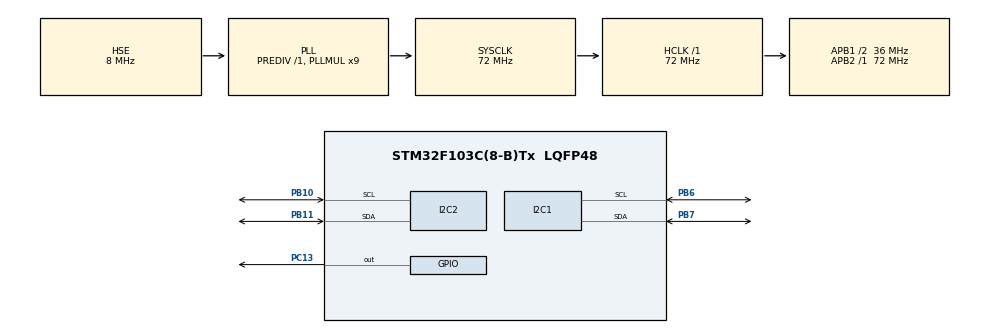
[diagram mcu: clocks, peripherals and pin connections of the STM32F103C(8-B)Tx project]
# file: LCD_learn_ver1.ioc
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Mcu.Family=STM32F1
Mcu.Name=STM32F103C(8-B)Tx
Mcu.Package=LQFP48
NVIC.PriorityGroup=NVIC_PRIORITYGROUP_4
PA13.Mode=Serial_Wire
PA13.Signal=SYS_JTMS-SWDIO
PA14.Mode=Serial_Wire
PA14.Signal=SYS_JTCK-SWCLK
PB10.Mode=I2C
PB10.Signal=I2C2_SCL
PB11.Mode=I2C
PB11.Signal=I2C2_SDA
PB6.Mode=I2C
PB6.Signal=I2C1_SCL
PB7.Mode=I2C
PB7.Signal=I2C1_SDA
PC13-TAMPER-RTC.Signal=GPIO_Output
PD0-OSC_IN.Mode=HSE-External-Oscillator
PD0-OSC_IN.Signal=RCC_OSC_IN
PD1-OSC_OUT.Mode=HSE-External-Oscillator
PD1-OSC_OUT.Signal=RCC_OSC_OUT
ProjectManager.HeapSize=0x200
ProjectManager.StackSize=0x400
ProjectManager.TargetToolchain=STM32CubeIDE
RCC.AHBFreq_Value=72000000
RCC.APB1CLKDivider=RCC_HCLK_DIV2
RCC.APB1Freq_Value=36000000
RCC.APB1TimFreq_Value=72000000
RCC.APB2Freq_Value=72000000
RCC.APB2TimFreq_Value=72000000
RCC.HCLKFreq_Value=72000000
RCC.PLLMUL=RCC_PLL_MUL9
RCC.PLLSourceVirtual=RCC_PLLSOURCE_HSE
RCC.SYSCLKFreq_VALUE=72000000
RCC.SYSCLKSource=RCC_SYSCLKSOURCE_PLLCLK
RCC.USBFreq_Value=72000000
TIM2.Prescaler=71
VP_TIM2_VS_ClockSourceINT.Mode=Internal
board=custom

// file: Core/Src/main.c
/* USER CODE BEGIN Header */
/**
  ******************************************************************************
  * @file           : main.c
  * @brief          : Main program body
  ******************************************************************************
  * @attention
  *
  * Copyright (c) 2023 STMicroelectronics.
  * All rights reserved.
  *
  * This software is licensed under terms that can be found in the LICENSE file
  * in the root directory of this software component.
  * If no LICENSE file comes with this software, it is provided AS-IS.
  *
  ******************************************************************************
  */
/* USER CODE END Header */
#include "main.h"

/* USER CODE BEGIN Includes */
#include "lcd_i2c.h"

/* USER CODE END Includes */

I2C_HandleTypeDef hi2c1;
I2C_HandleTypeDef hi2c2;

TIM_HandleTypeDef htim2;

/* USER CODE BEGIN PV */
LCD_I2C_HandleTypeDef lcd_1;
/* USER CODE END PV */

void SystemClock_Config(void);
static void MX_GPIO_Init(void);
static void MX_I2C1_Init(void);
static void MX_I2C2_Init(void);
static void MX_TIM2_Init(void);

/* USER CODE BEGIN 0 */
char MODE1[] = "MODE1: TEMP & HUMID";
char MODE2[] = "MODE2: DISTANCE";
char MODE3[] = "MODE3: DIGITAL CLOCK";
char MODE4[] = "MODE4: RESET TIME";
/* USER CODE END 0 */

int main(void)
{

  /* MCU Configuration--------------------------------------------------------*/

  /* Reset of all peripherals, Initializes the Flash interface and the Systick. */
  HAL_Init();

  /* Configure the system clock */
  SystemClock_Config();

  /* Initialize all configured peripherals */
  MX_GPIO_Init();
  MX_I2C1_Init();
  MX_I2C2_Init();
  MX_TIM2_Init();
  /* USER CODE BEGIN 2 */
  lcd_i2c_init(&lcd_1, &hi2c1,20,4,0x27<<1);

  /* USER CODE END 2 */

  /* Infinite loop */
  while (1)
  {

    /* USER CODE BEGIN 3 */
	  lcd_set_cursor(&lcd_1, 0, 0);
	  lcd_send_string(&lcd_1, MODE1);
	  lcd_set_cursor(&lcd_1, 0, 1);
	  lcd_send_string(&lcd_1, MODE2);
	  lcd_set_cursor(&lcd_1, 0, 2);
	  lcd_send_string(&lcd_1, MODE3);
	  lcd_set_cursor(&lcd_1, 0, 3);
	  lcd_send_string(&lcd_1, MODE4);
	  HAL_Delay(1000);
	  lcd_clear(&lcd_1);
	  lcd_set_cursor(&lcd_1, 0, 0);
	  lcd_send_string(&lcd_1, MODE1);
	  lcd_set_cursor(&lcd_1, 0, 1);
	  lcd_send_string(&lcd_1, MODE2);
	  lcd_set_cursor(&lcd_1, 0, 2);
	  lcd_send_string(&lcd_1, MODE3);
//	  lcd_set_cursor(&lcd_1, 0, 3);
//	  lcd_send_string(&lcd_1, MODE4);
	  HAL_Delay(1000);
	  lcd_set_cursor(&lcd_1, 0, 3);
	  lcd_send_string(&lcd_1, MODE4);
//	  for (int i = 0; i < strlen(str); i++)
//	  {
//		  lcd_clear(&p_lcd);
//		  lcd_set_cursor(&p_lcd, 0, 0);
//		  lcd_send_string(&p_lcd, &str[strlen(str) - i]);
//		  HAL_Delay(500);
//	  }
//	  for (int i = 0; i < 16 - strlen(str1); i++)
//	  {
//		  lcd_clear(&p_lcd);
//		  lcd_set_cursor(&p_lcd, i, 0);
//		  lcd_send_string(&p_lcd, "xin chao pham tuan");
//		  HAL_Delay(500);
//	  }
//	  for (int i = 16 - strlen(str1); i < 16; i++ )
//	  {
//		  lcd_clear(&p_lcd);
//		  lcd_set_cursor(&p_lcd, i, 0);
//		  lcd_send_string(&p_lcd, "phamtuan");
//		  lcd_set_cursor(&p_lcd, 0, 0);
//		  lcd_send_string(&p_lcd, &str1[16 - i]);
//		  HAL_Delay(500);
//	  }
//	  lcd_clear(&p_lcd);
//	  lcd_set_cursor(&p_lcd, 0, 0);
//	  lcd_send_string(&p_lcd, "WELCOME TO P.1008");
//	  lcd_set_cursor(&p_lcd, 0, 1);
//	  lcd_send_string(&p_lcd, "The boss of this room:");
//	  lcd_set_cursor(&p_lcd, 0, 2);
//	  lcd_send_string(&p_lcd, "Pham Ho Anh Tuan");
//	  lcd_set_cursor(&p_lcd, 0, 3);
//	  lcd_send_string(&p_lcd, "HAVE A NICE DAY!");
//	  HAL_Delay(500);

  }
  /* USER CODE END 3 */
}

void SystemClock_Config(void)
{
  RCC_OscInitTypeDef RCC_OscInitStruct = {0};
  RCC_ClkInitTypeDef RCC_ClkInitStruct = {0};

  /** Initializes the RCC Oscillators according to the specified parameters
  * in the RCC_OscInitTypeDef structure.
  */
  RCC_OscInitStruct.OscillatorType = RCC_OSCILLATORTYPE_HSE;
  RCC_OscInitStruct.HSEState = RCC_HSE_ON;
  RCC_OscInitStruct.HSEPredivValue = RCC_HSE_PREDIV_DIV1;
  RCC_OscInitStruct.HSIState = RCC_HSI_ON;
  RCC_OscInitStruct.PLL.PLLState = RCC_PLL_ON;
  RCC_OscInitStruct.PLL.PLLSource = RCC_PLLSOURCE_HSE;
  RCC_OscInitStruct.PLL.PLLMUL = RCC_PLL_MUL9;
  if (HAL_RCC_OscConfig(&RCC_OscInitStruct) != HAL_OK)
  {
    Error_Handler();
  }

  /** Initializes the CPU, AHB and APB buses clocks
  */
  RCC_ClkInitStruct.ClockType = RCC_CLOCKTYPE_HCLK|RCC_CLOCKTYPE_SYSCLK
                              |RCC_CLOCKTYPE_PCLK1|RCC_CLOCKTYPE_PCLK2;
  RCC_ClkInitStruct.SYSCLKSource = RCC_SYSCLKSOURCE_PLLCLK;
  RCC_ClkInitStruct.AHBCLKDivider = RCC_SYSCLK_DIV1;
  RCC_ClkInitStruct.APB1CLKDivider = RCC_HCLK_DIV2;
  RCC_ClkInitStruct.APB2CLKDivider = RCC_HCLK_DIV1;

  if (HAL_RCC_ClockConfig(&RCC_ClkInitStruct, FLASH_LATENCY_2) != HAL_OK)
  {
    Error_Handler();
  }
}

static void MX_I2C1_Init(void)
{

  hi2c1.Instance = I2C1;
  hi2c1.Init.ClockSpeed = 100000;
  hi2c1.Init.DutyCycle = I2C_DUTYCYCLE_2;
  hi2c1.Init.OwnAddress1 = 0;
  hi2c1.Init.AddressingMode = I2C_ADDRESSINGMODE_7BIT;
  hi2c1.Init.DualAddressMode = I2C_DUALADDRESS_DISABLE;
  hi2c1.Init.OwnAddress2 = 0;
  hi2c1.Init.GeneralCallMode = I2C_GENERALCALL_DISABLE;
  hi2c1.Init.NoStretchMode = I2C_NOSTRETCH_DISABLE;
  if (HAL_I2C_Init(&hi2c1) != HAL_OK)
  {
    Error_Handler();
  }

}

static void MX_I2C2_Init(void)
{

  hi2c2.Instance = I2C2;
  hi2c2.Init.ClockSpeed = 100000;
  hi2c2.Init.DutyCycle = I2C_DUTYCYCLE_2;
  hi2c2.Init.OwnAddress1 = 0;
  hi2c2.Init.AddressingMode = I2C_ADDRESSINGMODE_7BIT;
  hi2c2.Init.DualAddressMode = I2C_DUALADDRESS_DISABLE;
  hi2c2.Init.OwnAddress2 = 0;
  hi2c2.Init.GeneralCallMode = I2C_GENERALCALL_DISABLE;
  hi2c2.Init.NoStretchMode = I2C_NOSTRETCH_DISABLE;
  if (HAL_I2C_Init(&hi2c2) != HAL_OK)
  {
    Error_Handler();
  }

}

static void MX_TIM2_Init(void)
{

  TIM_ClockConfigTypeDef sClockSourceConfig = {0};
  TIM_MasterConfigTypeDef sMasterConfig = {0};

  htim2.Instance = TIM2;
  htim2.Init.Prescaler = 71;
  htim2.Init.CounterMode = TIM_COUNTERMODE_UP;
  htim2.Init.Period = 65535;
  htim2.Init.ClockDivision = TIM_CLOCKDIVISION_DIV1;
  htim2.Init.AutoReloadPreload = TIM_AUTORELOAD_PRELOAD_DISABLE;
  if (HAL_TIM_Base_Init(&htim2) != HAL_OK)
  {
    Error_Handler();
  }
  sClockSourceConfig.ClockSource = TIM_CLOCKSOURCE_INTERNAL;
  if (HAL_TIM_ConfigClockSource(&htim2, &sClockSourceConfig) != HAL_OK)
  {
    Error_Handler();
  }
  sMasterConfig.MasterOutputTrigger = TIM_TRGO_RESET;
  sMasterConfig.MasterSlaveMode = TIM_MASTERSLAVEMODE_DISABLE;
  if (HAL_TIMEx_MasterConfigSynchronization(&htim2, &sMasterConfig) != HAL_OK)
  {
    Error_Handler();
  }

}

static void MX_GPIO_Init(void)
{
  GPIO_InitTypeDef GPIO_InitStruct = {0};

  /* GPIO Ports Clock Enable */
  __HAL_RCC_GPIOC_CLK_ENABLE();
  __HAL_RCC_GPIOD_CLK_ENABLE();
  __HAL_RCC_GPIOB_CLK_ENABLE();
  __HAL_RCC_GPIOA_CLK_ENABLE();

  /*Configure GPIO pin Output Level */
  HAL_GPIO_WritePin(GPIOC, GPIO_PIN_13, GPIO_PIN_RESET);

  /*Configure GPIO pin : PC13 */
  GPIO_InitStruct.Pin = GPIO_PIN_13;
  GPIO_InitStruct.Mode = GPIO_MODE_OUTPUT_PP;
  GPIO_InitStruct.Pull = GPIO_NOPULL;
  GPIO_InitStruct.Speed = GPIO_SPEED_FREQ_LOW;
  HAL_GPIO_Init(GPIOC, &GPIO_InitStruct);

}

void Error_Handler(void)
{
  __disable_irq();
  while (1)
  {
  }
}
